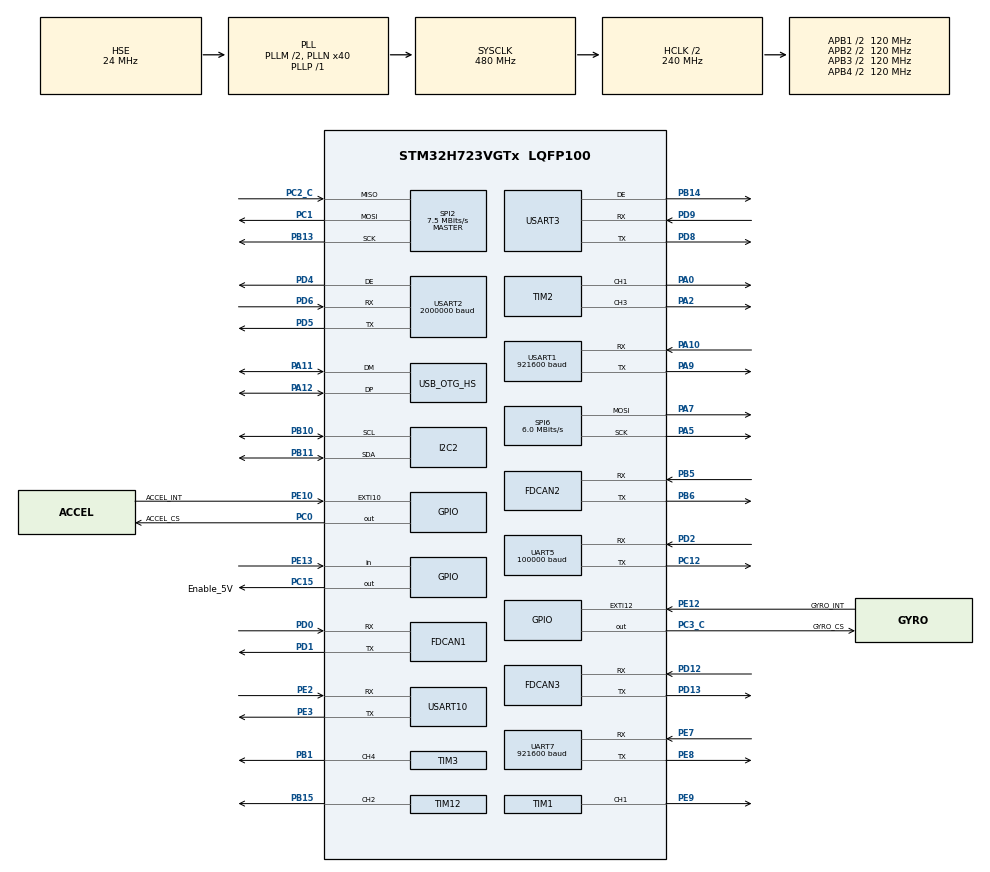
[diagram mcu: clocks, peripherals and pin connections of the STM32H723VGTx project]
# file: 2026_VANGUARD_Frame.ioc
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CORTEX_M7.AccessPermission_Spec=MPU_REGION_FULL_ACCESS
CORTEX_M7.BaseAddress_Spec=0x24000000
CORTEX_M7.CPU_DCache=Disabled
CORTEX_M7.CPU_ICache=Disabled
CORTEX_M7.DisableExec_Spec=MPU_INSTRUCTION_ACCESS_ENABLE
CORTEX_M7.IsShareable_Spec=MPU_ACCESS_NOT_SHAREABLE
CORTEX_M7.MPU_Control=MPU_PRIVILEGED_DEFAULT
CORTEX_M7.Size_Spec=MPU_REGION_SIZE_512KB
CORTEX_M7.SubRegionDisable_Spec=0x0
CORTEX_M7.TypeExtField_Spec=MPU_TEX_LEVEL1
CORTEX_M7.default_mode_Activation=0
Dma.Request0=UART7_RX
Dma.Request1=UART7_TX
Dma.Request2=SPI2_RX
Dma.Request3=SPI2_TX
Dma.Request4=UART5_RX
Dma.Request5=USART1_RX
Dma.Request6=USART2_RX
Dma.Request7=USART2_TX
Dma.SPI2_RX.2.Direction=DMA_PERIPH_TO_MEMORY
Dma.SPI2_RX.2.EventEnable=DISABLE
Dma.SPI2_RX.2.FIFOMode=DMA_FIFOMODE_DISABLE
Dma.SPI2_RX.2.Instance=DMA1_Stream2
Dma.SPI2_RX.2.MemDataAlignment=DMA_MDATAALIGN_BYTE
Dma.SPI2_RX.2.MemInc=DMA_MINC_ENABLE
Dma.SPI2_RX.2.Mode=DMA_NORMAL
Dma.SPI2_RX.2.PeriphDataAlignment=DMA_PDATAALIGN_BYTE
Dma.SPI2_RX.2.PeriphInc=DMA_PINC_DISABLE
Dma.SPI2_RX.2.Polarity=HAL_DMAMUX_REQ_GEN_RISING
Dma.SPI2_RX.2.Priority=DMA_PRIORITY_MEDIUM
Dma.SPI2_RX.2.RequestNumber=1
Dma.SPI2_RX.2.SignalID=NONE
Dma.SPI2_RX.2.SyncEnable=DISABLE
Dma.SPI2_RX.2.SyncPolarity=HAL_DMAMUX_SYNC_NO_EVENT
Dma.SPI2_RX.2.SyncRequestNumber=1
Dma.SPI2_RX.2.SyncSignalID=NONE
Dma.SPI2_TX.3.Direction=DMA_MEMORY_TO_PERIPH
Dma.SPI2_TX.3.EventEnable=DISABLE
Dma.SPI2_TX.3.FIFOMode=DMA_FIFOMODE_DISABLE
Dma.SPI2_TX.3.Instance=DMA1_Stream3
Dma.SPI2_TX.3.MemDataAlignment=DMA_MDATAALIGN_BYTE
Dma.SPI2_TX.3.MemInc=DMA_MINC_ENABLE
Dma.SPI2_TX.3.Mode=DMA_NORMAL
Dma.SPI2_TX.3.PeriphDataAlignment=DMA_PDATAALIGN_BYTE
Dma.SPI2_TX.3.PeriphInc=DMA_PINC_DISABLE
Dma.SPI2_TX.3.Polarity=HAL_DMAMUX_REQ_GEN_RISING
Dma.SPI2_TX.3.Priority=DMA_PRIORITY_LOW
Dma.SPI2_TX.3.RequestNumber=1
Dma.SPI2_TX.3.SignalID=NONE
Dma.SPI2_TX.3.SyncEnable=DISABLE
Dma.SPI2_TX.3.SyncPolarity=HAL_DMAMUX_SYNC_NO_EVENT
Dma.SPI2_TX.3.SyncRequestNumber=1
Dma.SPI2_TX.3.SyncSignalID=NONE
Dma.UART5_RX.4.Direction=DMA_PERIPH_TO_MEMORY
Dma.UART5_RX.4.EventEnable=DISABLE
Dma.UART5_RX.4.FIFOMode=DMA_FIFOMODE_DISABLE
Dma.UART5_RX.4.Instance=DMA1_Stream4
Dma.UART5_RX.4.MemDataAlignment=DMA_MDATAALIGN_BYTE
Dma.UART5_RX.4.MemInc=DMA_MINC_ENABLE
Dma.UART5_RX.4.Mode=DMA_NORMAL
Dma.UART5_RX.4.PeriphDataAlignment=DMA_PDATAALIGN_BYTE
Dma.UART5_RX.4.PeriphInc=DMA_PINC_DISABLE
Dma.UART5_RX.4.Polarity=HAL_DMAMUX_REQ_GEN_RISING
Dma.UART5_RX.4.Priority=DMA_PRIORITY_LOW
Dma.UART5_RX.4.RequestNumber=1
Dma.UART5_RX.4.SignalID=NONE
Dma.UART5_RX.4.SyncEnable=DISABLE
Dma.UART5_RX.4.SyncPolarity=HAL_DMAMUX_SYNC_NO_EVENT
Dma.UART5_RX.4.SyncRequestNumber=1
Dma.UART5_RX.4.SyncSignalID=NONE
Dma.UART7_RX.0.Direction=DMA_PERIPH_TO_MEMORY
Dma.UART7_RX.0.EventEnable=DISABLE
Dma.UART7_RX.0.FIFOMode=DMA_FIFOMODE_DISABLE
Dma.UART7_RX.0.Instance=DMA1_Stream0
Dma.UART7_RX.0.MemDataAlignment=DMA_MDATAALIGN_BYTE
Dma.UART7_RX.0.MemInc=DMA_MINC_ENABLE
Dma.UART7_RX.0.Mode=DMA_NORMAL
Dma.UART7_RX.0.PeriphDataAlignment=DMA_PDATAALIGN_BYTE
Dma.UART7_RX.0.PeriphInc=DMA_PINC_DISABLE
Dma.UART7_RX.0.Polarity=HAL_DMAMUX_REQ_GEN_RISING
Dma.UART7_RX.0.Priority=DMA_PRIORITY_LOW
Dma.UART7_RX.0.RequestNumber=1
Dma.UART7_RX.0.SignalID=NONE
Dma.UART7_RX.0.SyncEnable=DISABLE
Dma.UART7_RX.0.SyncPolarity=HAL_DMAMUX_SYNC_NO_EVENT
Dma.UART7_RX.0.SyncRequestNumber=1
Dma.UART7_RX.0.SyncSignalID=NONE
Dma.UART7_TX.1.Direction=DMA_MEMORY_TO_PERIPH
Dma.UART7_TX.1.EventEnable=DISABLE
Dma.UART7_TX.1.FIFOMode=DMA_FIFOMODE_DISABLE
Dma.UART7_TX.1.Instance=DMA1_Stream1
Dma.UART7_TX.1.MemDataAlignment=DMA_MDATAALIGN_BYTE
Dma.UART7_TX.1.MemInc=DMA_MINC_ENABLE
Dma.UART7_TX.1.Mode=DMA_NORMAL
Dma.UART7_TX.1.PeriphDataAlignment=DMA_PDATAALIGN_BYTE
Dma.UART7_TX.1.PeriphInc=DMA_PINC_DISABLE
Dma.UART7_TX.1.Polarity=HAL_DMAMUX_REQ_GEN_RISING
Dma.UART7_TX.1.Priority=DMA_PRIORITY_LOW
Dma.UART7_TX.1.RequestNumber=1
Dma.UART7_TX.1.SignalID=NONE
Dma.UART7_TX.1.SyncEnable=DISABLE
Dma.UART7_TX.1.SyncPolarity=HAL_DMAMUX_SYNC_NO_EVENT
Dma.UART7_TX.1.SyncRequestNumber=1
Dma.UART7_TX.1.SyncSignalID=NONE
Dma.USART1_RX.5.Direction=DMA_PERIPH_TO_MEMORY
Dma.USART1_RX.5.EventEnable=DISABLE
Dma.USART1_RX.5.FIFOMode=DMA_FIFOMODE_DISABLE
Dma.USART1_RX.5.Instance=DMA1_Stream5
Dma.USART1_RX.5.MemDataAlignment=DMA_MDATAALIGN_BYTE
Dma.USART1_RX.5.MemInc=DMA_MINC_ENABLE
Dma.USART1_RX.5.Mode=DMA_NORMAL
Dma.USART1_RX.5.PeriphDataAlignment=DMA_PDATAALIGN_BYTE
Dma.USART1_RX.5.PeriphInc=DMA_PINC_DISABLE
Dma.USART1_RX.5.Polarity=HAL_DMAMUX_REQ_GEN_RISING
Dma.USART1_RX.5.Priority=DMA_PRIORITY_HIGH
Dma.USART1_RX.5.RequestNumber=1
Dma.USART1_RX.5.SignalID=NONE
Dma.USART1_RX.5.SyncEnable=DISABLE
Dma.USART1_RX.5.SyncPolarity=HAL_DMAMUX_SYNC_NO_EVENT
Dma.USART1_RX.5.SyncRequestNumber=1
Dma.USART1_RX.5.SyncSignalID=NONE
Dma.USART2_RX.6.Direction=DMA_PERIPH_TO_MEMORY
Dma.USART2_RX.6.EventEnable=DISABLE
Dma.USART2_RX.6.FIFOMode=DMA_FIFOMODE_DISABLE
Dma.USART2_RX.6.Instance=DMA1_Stream6
Dma.USART2_RX.6.MemDataAlignment=DMA_MDATAALIGN_BYTE
Dma.USART2_RX.6.MemInc=DMA_MINC_ENABLE
Dma.USART2_RX.6.Mode=DMA_CIRCULAR
Dma.USART2_RX.6.PeriphDataAlignment=DMA_PDATAALIGN_BYTE
Dma.USART2_RX.6.PeriphInc=DMA_PINC_DISABLE
Dma.USART2_RX.6.Polarity=HAL_DMAMUX_REQ_GEN_RISING
Dma.USART2_RX.6.Priority=DMA_PRIORITY_HIGH
Dma.USART2_RX.6.RequestNumber=1
Dma.USART2_RX.6.SignalID=NONE
Dma.USART2_RX.6.SyncEnable=DISABLE
Dma.USART2_RX.6.SyncPolarity=HAL_DMAMUX_SYNC_NO_EVENT
Dma.USART2_RX.6.SyncRequestNumber=1
Dma.USART2_RX.6.SyncSignalID=NONE
Dma.USART2_TX.7.Direction=DMA_MEMORY_TO_PERIPH
Dma.USART2_TX.7.EventEnable=DISABLE
Dma.USART2_TX.7.FIFOMode=DMA_FIFOMODE_DISABLE
Dma.USART2_TX.7.Instance=DMA1_Stream7
Dma.USART2_TX.7.MemDataAlignment=DMA_MDATAALIGN_BYTE
Dma.USART2_TX.7.MemInc=DMA_MINC_ENABLE
Dma.USART2_TX.7.Mode=DMA_NORMAL
Dma.USART2_TX.7.PeriphDataAlignment=DMA_PDATAALIGN_BYTE
Dma.USART2_TX.7.PeriphInc=DMA_PINC_DISABLE
Dma.USART2_TX.7.Polarity=HAL_DMAMUX_REQ_GEN_RISING
Dma.USART2_TX.7.Priority=DMA_PRIORITY_HIGH
Dma.USART2_TX.7.RequestNumber=1
Dma.USART2_TX.7.SignalID=NONE
Dma.USART2_TX.7.SyncEnable=DISABLE
Dma.USART2_TX.7.SyncPolarity=HAL_DMAMUX_SYNC_NO_EVENT
Dma.USART2_TX.7.SyncRequestNumber=1
Dma.USART2_TX.7.SyncSignalID=NONE
FDCAN1.AutoRetransmission=ENABLE
FDCAN1.CalculateBaudRateNominal=1000000
FDCAN1.CalculateTimeBitNominal=1000
FDCAN1.CalculateTimeQuantumNominal=200.0
FDCAN1.DataPrescaler=1
FDCAN1.DataSyncJumpWidth=5
FDCAN1.DataTimeSeg1=14
FDCAN1.DataTimeSeg2=5
FDCAN1.FrameFormat=FDCAN_FRAME_FD_NO_BRS
FDCAN1.NominalPrescaler=24
FDCAN1.NominalSyncJumpWidth=5
FDCAN1.NominalTimeSeg1=2
FDCAN1.NominalTimeSeg2=2
FDCAN1.ProtocolException=DISABLE
FDCAN1.RxFifo0ElmtsNbr=16
FDCAN1.RxFifo1ElmtsNbr=16
FDCAN1.StdFiltersNbr=42
FDCAN1.TxBuffersNbr=0
FDCAN1.TxFifoQueueElmtsNbr=32
FDCAN1.TxFifoQueueMode=FDCAN_TX_FIFO_OPERATION
FDCAN2.AutoRetransmission=ENABLE
FDCAN2.CalculateBaudRateNominal=1000000
FDCAN2.CalculateTimeBitNominal=1000
FDCAN2.CalculateTimeQuantumNominal=200.0
FDCAN2.DataSyncJumpWidth=5
FDCAN2.DataTimeSeg1=14
FDCAN2.DataTimeSeg2=5
FDCAN2.FrameFormat=FDCAN_FRAME_FD_NO_BRS
FDCAN2.MessageRAMOffset=853
FDCAN2.NominalPrescaler=24
FDCAN2.NominalSyncJumpWidth=5
FDCAN2.NominalTimeSeg1=2
FDCAN2.NominalTimeSeg2=2
FDCAN2.ProtocolException=DISABLE
FDCAN2.RxFifo0ElmtsNbr=16
FDCAN2.RxFifo1ElmtsNbr=16
FDCAN2.StdFiltersNbr=42
FDCAN2.TxFifoQueueElmtsNbr=32
FDCAN3.AutoRetransmission=ENABLE
FDCAN3.CalculateBaudRateNominal=1000000
FDCAN3.CalculateTimeBitNominal=1000
FDCAN3.CalculateTimeQuantumNominal=25.0
FDCAN3.DataPrescaler=3
FDCAN3.DataSyncJumpWidth=10
FDCAN3.DataTimeSeg1=29
FDCAN3.DataTimeSeg2=10
FDCAN3.MessageRAMOffset=1708
FDCAN3.NominalPrescaler=3
FDCAN3.NominalSyncJumpWidth=10
FDCAN3.NominalTimeSeg1=29
FDCAN3.NominalTimeSeg2=10
FDCAN3.ProtocolException=DISABLE
FDCAN3.RxFifo0ElmtsNbr=16
FDCAN3.RxFifo1ElmtsNbr=16
FDCAN3.StdFiltersNbr=42
FDCAN3.TxFifoQueueElmtsNbr=32
FREERTOS.Tasks01=defaultTask,24,128,StartDefaultTask,Default,NULL,Dynamic,NULL,NULL
I2C2.Timing=0x307075B1
Mcu.Family=STM32H7
Mcu.Name=STM32H723VGTx
Mcu.Package=LQFP100
NVIC.DMA1_Stream0_IRQn=true\:5\:0\:false\:false\:true\:true\:false\:true\:true
NVIC.DMA1_Stream1_IRQn=true\:5\:0\:false\:false\:true\:true\:false\:true\:true
NVIC.DMA1_Stream2_IRQn=true\:5\:0\:false\:false\:true\:true\:false\:true\:true
NVIC.DMA1_Stream3_IRQn=true\:5\:0\:false\:false\:true\:true\:false\:true\:true
NVIC.DMA1_Stream4_IRQn=true\:5\:0\:false\:false\:true\:true\:false\:true\:true
NVIC.DMA1_Stream5_IRQn=true\:5\:0\:false\:false\:true\:true\:false\:true\:true
NVIC.DMA1_Stream6_IRQn=true\:5\:0\:false\:false\:true\:true\:false\:true\:true
NVIC.DMA1_Stream7_IRQn=true\:5\:0\:false\:false\:true\:true\:false\:true\:true
NVIC.FDCAN1_IT0_IRQn=true\:5\:0\:false\:false\:true\:true\:true\:true\:true
NVIC.FDCAN1_IT1_IRQn=true\:5\:0\:false\:false\:true\:true\:true\:true\:true
NVIC.FDCAN2_IT0_IRQn=true\:5\:0\:false\:false\:true\:true\:true\:true\:true
NVIC.FDCAN2_IT1_IRQn=true\:5\:0\:false\:false\:true\:true\:true\:true\:true
NVIC.FDCAN3_IT0_IRQn=true\:5\:0\:false\:false\:true\:true\:true\:true\:true
NVIC.FDCAN3_IT1_IRQn=true\:5\:0\:false\:false\:true\:true\:true\:true\:true
NVIC.OTG_HS_IRQn=true\:5\:0\:false\:false\:true\:true\:false\:true\:true
NVIC.PriorityGroup=NVIC_PRIORITYGROUP_4
NVIC.RNG_IRQn=true\:5\:0\:false\:false\:true\:true\:true\:true\:true
NVIC.SPI2_IRQn=true\:5\:0\:false\:false\:true\:true\:true\:true\:true
NVIC.TIM7_IRQn=true\:15\:0\:false\:false\:true\:false\:false\:true\:true
NVIC.TimeBase=TIM7_IRQn
NVIC.TimeBaseIP=TIM7
NVIC.UART5_IRQn=true\:5\:0\:false\:false\:true\:true\:true\:true\:true
NVIC.UART7_IRQn=true\:5\:0\:false\:false\:true\:true\:true\:true\:true
NVIC.USART10_IRQn=true\:5\:0\:false\:false\:true\:true\:true\:true\:true
NVIC.USART1_IRQn=true\:5\:0\:false\:false\:true\:true\:true\:true\:true
NVIC.USART2_IRQn=true\:5\:0\:false\:false\:true\:true\:true\:true\:true
NVIC.USART3_IRQn=true\:5\:0\:false\:false\:true\:true\:true\:true\:true
PA0.Signal=S_TIM2_CH1_ETR
PA10.Mode=Asynchronous
PA10.Signal=USART1_RX
PA11.Mode=Device_Only_FS
PA11.Signal=USB_OTG_HS_DM
PA12.Mode=Device_Only_FS
PA12.Signal=USB_OTG_HS_DP
PA13(JTMS/SWDIO).Mode=Serial_Wire
PA13(JTMS/SWDIO).Signal=DEBUG_JTMS-SWDIO
PA14(JTCK/SWCLK).Mode=Serial_Wire
PA14(JTCK/SWCLK).Signal=DEBUG_JTCK-SWCLK
PA2.Signal=S_TIM2_CH3
PA5.Mode=TX_Only_Simplex_Unidirect_Master
PA5.Signal=SPI6_SCK
PA7.Mode=TX_Only_Simplex_Unidirect_Master
PA7.Signal=SPI6_MOSI
PA9.Mode=Asynchronous
PA9.Signal=USART1_TX
PB1.Signal=S_TIM3_CH4
PB10.Mode=I2C
PB10.Signal=I2C2_SCL
PB11.Mode=I2C
PB11.Signal=I2C2_SDA
PB13.GPIO_Speed=GPIO_SPEED_FREQ_VERY_HIGH
PB13.Mode=Full_Duplex_Master
PB13.Signal=SPI2_SCK
PB14.Mode=Hardware Flow Control (RS485)
PB14.Signal=USART3_DE
PB15.Signal=S_TIM12_CH2
PB5.GPIO_Speed=GPIO_SPEED_FREQ_HIGH
PB5.Mode=FDCAN_Activate
PB5.Signal=FDCAN2_RX
PB6.GPIO_Speed=GPIO_SPEED_FREQ_HIGH
PB6.Mode=FDCAN_Activate
PB6.Signal=FDCAN2_TX
PC0.GPIO_Label=ACCEL_CS
PC0.GPIO_PuPd=GPIO_PULLUP
PC0.GPIO_Speed=GPIO_SPEED_FREQ_HIGH
PC0.PinState=GPIO_PIN_SET
PC0.Signal=GPIO_Output
PC1.GPIO_Speed=GPIO_SPEED_FREQ_VERY_HIGH
PC1.Mode=Full_Duplex_Master
PC1.Signal=SPI2_MOSI
PC12.Mode=Asynchronous
PC12.Signal=UART5_TX
PC15-OSC32_OUT.GPIO_Label=Enable_5V
PC15-OSC32_OUT.GPIO_PuPd=GPIO_PULLUP
PC15-OSC32_OUT.PinState=GPIO_PIN_SET
PC15-OSC32_OUT.Signal=GPIO_Output
PC2_C.GPIO_Speed=GPIO_SPEED_FREQ_VERY_HIGH
PC2_C.Mode=Full_Duplex_Master
PC2_C.Signal=SPI2_MISO
PC3_C.GPIO_Label=GYRO_CS
PC3_C.GPIO_PuPd=GPIO_PULLUP
PC3_C.GPIO_Speed=GPIO_SPEED_FREQ_HIGH
PC3_C.PinState=GPIO_PIN_SET
PC3_C.Signal=GPIO_Output
PD0.GPIO_Speed=GPIO_SPEED_FREQ_HIGH
PD0.Mode=FDCAN_Activate
PD0.Signal=FDCAN1_RX
PD1.GPIO_Speed=GPIO_SPEED_FREQ_HIGH
PD1.Mode=FDCAN_Activate
PD1.Signal=FDCAN1_TX
PD12.GPIO_Speed=GPIO_SPEED_FREQ_HIGH
PD12.Mode=FDCAN_Activate
PD12.Signal=FDCAN3_RX
PD13.GPIO_Speed=GPIO_SPEED_FREQ_HIGH
PD13.Mode=FDCAN_Activate
PD13.Signal=FDCAN3_TX
PD2.Mode=Asynchronous
PD2.Signal=UART5_RX
PD4.GPIO_Speed=GPIO_SPEED_FREQ_VERY_HIGH
PD4.Mode=Hardware Flow Control (RS485)
PD4.Signal=USART2_DE
PD5.GPIO_Speed=GPIO_SPEED_FREQ_VERY_HIGH
PD5.Mode=Asynchronous
PD5.Signal=USART2_TX
PD6.GPIO_Speed=GPIO_SPEED_FREQ_VERY_HIGH
PD6.Mode=Asynchronous
PD6.Signal=USART2_RX
PD8.Mode=Asynchronous
PD8.Signal=USART3_TX
PD9.Mode=Asynchronous
PD9.Signal=USART3_RX
PE10.GPIO_Label=ACCEL_INT
PE10.GPIO_ModeDefaultEXTI=GPIO_MODE_IT_FALLING
PE10.GPIO_PuPd=GPIO_NOPULL
PE10.Signal=GPXTI10
PE12.GPIO_Label=GYRO_INT
PE12.GPIO_ModeDefaultEXTI=GPIO_MODE_IT_FALLING
PE12.GPIO_PuPd=GPIO_NOPULL
PE12.Signal=GPXTI12
PE13.GPIO_PuPd=GPIO_PULLDOWN
PE13.Signal=GPIO_Input
PE2.Mode=Asynchronous
PE2.Signal=USART10_RX
PE3.Mode=Asynchronous
PE3.Signal=USART10_TX
PE7.Mode=Asynchronous
PE7.Signal=UART7_RX
PE8.Mode=Asynchronous
PE8.Signal=UART7_TX
PE9.Signal=S_TIM1_CH1
PH0-OSC_IN.Mode=HSE-External-Oscillator
PH0-OSC_IN.Signal=RCC_OSC_IN
PH1-OSC_OUT.Mode=HSE-External-Oscillator
PH1-OSC_OUT.Signal=RCC_OSC_OUT
ProjectManager.HeapSize=0x4000
ProjectManager.StackSize=0x4000
ProjectManager.TargetToolchain=MDK-ARM V5.32
RCC.ADCFreq_Value=240000000
RCC.APB1Freq_Value=120000000
RCC.APB2Freq_Value=120000000
RCC.APB3Freq_Value=120000000
RCC.APB4Freq_Value=120000000
RCC.CortexFreq_Value=480000000
RCC.D1PPRE=RCC_APB3_DIV2
RCC.D2PPRE1=RCC_APB1_DIV2
RCC.D2PPRE2=RCC_APB2_DIV2
RCC.D3PPRE=RCC_APB4_DIV2
RCC.DIVM1=2
RCC.DIVM2=2
RCC.DIVN1=40
RCC.DIVN2=40
RCC.DIVP1=1
RCC.DIVQ1=4
RCC.DIVQ2=20
RCC.HCLKFreq_Value=240000000
RCC.HPRE=RCC_HCLK_DIV2
RCC.HSE_VALUE=24000000
RCC.PLLSourceVirtual=RCC_PLLSOURCE_HSE
RCC.SPI6CLockSelection=RCC_SPI6CLKSOURCE_PLL2
RCC.SYSCLKFreq_VALUE=480000000
RCC.SYSCLKSource=RCC_SYSCLKSOURCE_PLLCLK
RCC.USBCLockSelection=RCC_USBCLKSOURCE_HSI48
RCC.USBFreq_Value=48000000
SH.S_TIM12_CH2.0=TIM12_CH2,PWM Generation2 CH2
SH.S_TIM1_CH1.0=TIM1_CH1,PWM Generation1 CH1
SH.S_TIM2_CH1_ETR.0=TIM2_CH1,PWM Generation1 CH1
SH.S_TIM2_CH3.0=TIM2_CH3,PWM Generation3 CH3
SH.S_TIM3_CH4.0=TIM3_CH4,PWM Generation4 CH4
SPI2.BaudRatePrescaler=SPI_BAUDRATEPRESCALER_16
SPI2.CLKPhase=SPI_PHASE_2EDGE
SPI2.CLKPolarity=SPI_POLARITY_HIGH
SPI2.CalculateBaudRate=7.5 MBits/s
SPI2.DataSize=SPI_DATASIZE_8BIT
SPI2.Direction=SPI_DIRECTION_2LINES
SPI2.Mode=SPI_MODE_MASTER
SPI2.VirtualType=VM_MASTER
SPI6.BaudRatePrescaler=SPI_BAUDRATEPRESCALER_4
SPI6.CLKPhase=SPI_PHASE_2EDGE
SPI6.CalculateBaudRate=6.0 MBits/s
SPI6.DataSize=SPI_DATASIZE_8BIT
SPI6.Direction=SPI_DIRECTION_2LINES_TXONLY
SPI6.Mode=SPI_MODE_MASTER
SPI6.VirtualType=VM_MASTER
STMicroelectronics.X-CUBE-ALGOBUILD.1.4.0.LibraryCcDSPOoLibraryJjDSPOoLibrary=true
TIM1.Channel-PWM\ Generation1\ CH1=TIM_CHANNEL_1
TIM12.Channel-PWM\ Generation2\ CH2=TIM_CHANNEL_2
TIM12.Period=2000-1
TIM12.Prescaler=24-1
TIM12.Pulse-PWM\ Generation2\ CH2=1000
TIM2.Channel-PWM\ Generation1\ CH1=TIM_CHANNEL_1
TIM2.Channel-PWM\ Generation3\ CH3=TIM_CHANNEL_3
TIM3.Channel-PWM\ Generation4\ CH4=TIM_CHANNEL_4
TIM3.Period=20000-1
TIM3.Prescaler=24-1
UART5.BaudRate=100000
UART5.Mode=MODE_RX
UART5.OverrunDisableParam=UART_ADVFEATURE_OVERRUN_DISABLE
UART5.Parity=PARITY_EVEN
UART5.StopBits=UART_STOPBITS_2
UART5.WordLength=WORDLENGTH_9B
UART7.BaudRate=921600
USART1.BaudRate=921600
USART1.FIFOMode=FIFOMODE_DISABLE
USART1.Mode=MODE_RX
USART1.VirtualMode-Asynchronous=VM_ASYNC
USART10.VirtualMode=VM_ASYNC
USART2.BaudRate=2000000
USART2.VirtualMode-Asynchronous=VM_ASYNC
USART2.VirtualMode-Hardware\ Flow\ Control\ (RS485)=VM_ASYNC
USART3.VirtualMode-Asynchronous=VM_ASYNC
USART3.VirtualMode-Hardware\ Flow\ Control\ (RS485)=VM_ASYNC
USB_DEVICE.CLASS_NAME_HS=CDC
USB_DEVICE.VirtualMode=Cdc
USB_DEVICE.VirtualModeHS=Cdc_HS
USB_OTG_HS.VirtualMode-Device_Only_FS=Device_Only_FS
VP_FREERTOS_VS_CMSIS_V2.Mode=CMSIS_V2
VP_MEMORYMAP_VS_MEMORYMAP.Mode=CurAppReg
VP_RNG_VS_RNG.Mode=RNG_Activate
VP_STMicroelectronics.X-CUBE-ALGOBUILD_VS_DSPOoLibraryJjLibrary_1.4.0_1.4.0.Mode=DSPOoLibraryJjLibrary
VP_SYS_VS_tim7.Mode=TIM7
VP_USB_DEVICE_VS_USB_DEVICE_CDC_HS.Mode=CDC_HS
board=custom

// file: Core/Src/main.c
/* USER CODE BEGIN Header */
/**
  ******************************************************************************
  * @file           : main.c
  * @brief          : Main program body
  ******************************************************************************
  * @attention
  *
  * Copyright (c) 2025 STMicroelectronics.
  * All rights reserved.
  *
  * This software is licensed under terms that can be found in the LICENSE file
  * in the root directory of this software component.
  * If no LICENSE file comes with this software, it is provided AS-IS.
  *
  ******************************************************************************
  */
/* USER CODE END Header */
#include "main.h"
#include "cmsis_os.h"
#include "dma.h"
#include "fdcan.h"
#include "i2c.h"
#include "rng.h"
#include "spi.h"
#include "tim.h"
#include "usart.h"
#include "usb_device.h"
#include "gpio.h"

/* USER CODE BEGIN Includes */
#include "robot_frame_init.h"
/* USER CODE END Includes */

void SystemClock_Config(void);
static void MPU_Config(void);
void MX_FREERTOS_Init(void);

int main(void)
{

  /* MPU Configuration--------------------------------------------------------*/
  MPU_Config();

  /* MCU Configuration--------------------------------------------------------*/

  /* Reset of all peripherals, Initializes the Flash interface and the Systick. */
  HAL_Init();

  /* Configure the system clock */
  SystemClock_Config();

  /* Initialize all configured peripherals */
  MX_GPIO_Init();
  MX_DMA_Init();
  MX_TIM1_Init();
  MX_TIM2_Init();
  MX_UART5_Init();
  MX_UART7_Init();
  MX_USART1_UART_Init();
  MX_USART2_UART_Init();
  MX_USART3_UART_Init();
  MX_USART10_UART_Init();
  MX_FDCAN1_Init();
  MX_FDCAN2_Init();
  MX_FDCAN3_Init();
  MX_SPI2_Init();
  MX_SPI6_Init();
  MX_TIM3_Init();
  MX_TIM12_Init();
  MX_I2C2_Init();
  MX_RNG_Init();
  /* USER CODE BEGIN 2 */
  Robot_Frame_Init();
  /* USER CODE END 2 */

  /* Init scheduler */
  osKernelInitialize();  /* Call init function for freertos objects (in cmsis_os2.c) */
  MX_FREERTOS_Init();

  /* Start scheduler */
  osKernelStart();

  /* We should never get here as control is now taken by the scheduler */

  /* Infinite loop */
  while (1)
  {

  }
}

void SystemClock_Config(void)
{
  RCC_OscInitTypeDef RCC_OscInitStruct = {0};
  RCC_ClkInitTypeDef RCC_ClkInitStruct = {0};

  /** Supply configuration update enable
  */
  HAL_PWREx_ConfigSupply(PWR_LDO_SUPPLY);

  /** Configure the main internal regulator output voltage
  */
  __HAL_PWR_VOLTAGESCALING_CONFIG(PWR_REGULATOR_VOLTAGE_SCALE0);

  while(!__HAL_PWR_GET_FLAG(PWR_FLAG_VOSRDY)) {}

  /** Initializes the RCC Oscillators according to the specified parameters
  * in the RCC_OscInitTypeDef structure.
  */
  RCC_OscInitStruct.OscillatorType = RCC_OSCILLATORTYPE_HSI48|RCC_OSCILLATORTYPE_HSE;
  RCC_OscInitStruct.HSEState = RCC_HSE_ON;
  RCC_OscInitStruct.HSI48State = RCC_HSI48_ON;
  RCC_OscInitStruct.PLL.PLLState = RCC_PLL_ON;
  RCC_OscInitStruct.PLL.PLLSource = RCC_PLLSOURCE_HSE;
  RCC_OscInitStruct.PLL.PLLM = 2;
  RCC_OscInitStruct.PLL.PLLN = 40;
  RCC_OscInitStruct.PLL.PLLP = 1;
  RCC_OscInitStruct.PLL.PLLQ = 4;
  RCC_OscInitStruct.PLL.PLLR = 2;
  RCC_OscInitStruct.PLL.PLLRGE = RCC_PLL1VCIRANGE_3;
  RCC_OscInitStruct.PLL.PLLVCOSEL = RCC_PLL1VCOWIDE;
  RCC_OscInitStruct.PLL.PLLFRACN = 0;
  if (HAL_RCC_OscConfig(&RCC_OscInitStruct) != HAL_OK)
  {
    Error_Handler();
  }

  /** Initializes the CPU, AHB and APB buses clocks
  */
  RCC_ClkInitStruct.ClockType = RCC_CLOCKTYPE_HCLK|RCC_CLOCKTYPE_SYSCLK
                              |RCC_CLOCKTYPE_PCLK1|RCC_CLOCKTYPE_PCLK2
                              |RCC_CLOCKTYPE_D3PCLK1|RCC_CLOCKTYPE_D1PCLK1;
  RCC_ClkInitStruct.SYSCLKSource = RCC_SYSCLKSOURCE_PLLCLK;
  RCC_ClkInitStruct.SYSCLKDivider = RCC_SYSCLK_DIV1;
  RCC_ClkInitStruct.AHBCLKDivider = RCC_HCLK_DIV2;
  RCC_ClkInitStruct.APB3CLKDivider = RCC_APB3_DIV2;
  RCC_ClkInitStruct.APB1CLKDivider = RCC_APB1_DIV2;
  RCC_ClkInitStruct.APB2CLKDivider = RCC_APB2_DIV2;
  RCC_ClkInitStruct.APB4CLKDivider = RCC_APB4_DIV2;

  if (HAL_RCC_ClockConfig(&RCC_ClkInitStruct, FLASH_LATENCY_3) != HAL_OK)
  {
    Error_Handler();
  }
}

 /* MPU Configuration */

void MPU_Config(void)
{

  /* Disables the MPU */
  HAL_MPU_Disable();

  /* Enables the MPU */
  HAL_MPU_Enable(MPU_PRIVILEGED_DEFAULT);

}

void HAL_TIM_PeriodElapsedCallback(TIM_HandleTypeDef *htim)
{
  if (htim->Instance == TIM7)
  {
    HAL_IncTick();
  }
}

void Error_Handler(void)
{
  __disable_irq();
  while (1)
  {
  }
}

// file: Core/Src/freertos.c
/* USER CODE BEGIN Header */
/**
  ******************************************************************************
  * File Name          : freertos.c
  * Description        : Code for freertos applications
  ******************************************************************************
  * @attention
  *
  * Copyright (c) 2025 STMicroelectronics.
  * All rights reserved.
  *
  * This software is licensed under terms that can be found in the LICENSE file
  * in the root directory of this software component.
  * If no LICENSE file comes with this software, it is provided AS-IS.
  *
  ******************************************************************************
  */
/* USER CODE END Header */

#include "FreeRTOS.h"
#include "task.h"
#include "main.h"
#include "cmsis_os.h"

/* USER CODE BEGIN Includes */
/******************************这里是塞💩的地方，请随便塞💩*****************************/
#include "rng.h"
#include "robot_frame_init.h"
#include "buzzer.h"
#include "ws2812.h"
#include "wfly_control.h"
#include "rs485.h"

/******************************这里是塞💩的地方，请随便塞💩*****************************/
/* USER CODE END Includes */

/* Definitions for defaultTask */
osThreadId_t defaultTaskHandle;
const osThreadAttr_t defaultTask_attributes = {
  .name = "defaultTask",
  .stack_size = 128 * 4,
  .priority = (osPriority_t) osPriorityNormal,
};

void StartDefaultTask(void *argument);

extern void MX_USB_DEVICE_Init(void);
void MX_FREERTOS_Init(void); /* (MISRA C 2004 rule 8.1) */

void MX_FREERTOS_Init(void) {

  /* Create the thread(s) */
  /* creation of defaultTask */
  defaultTaskHandle = osThreadNew(StartDefaultTask, NULL, &defaultTask_attributes);

  /* USER CODE BEGIN RTOS_THREADS */
  /* add threads, ... */
  Robot_Frame_Task_Init();
  /* USER CODE END RTOS_THREADS */

}

/* USER CODE BEGIN Header_StartDefaultTask */
/**
  * @brief  Function implementing the defaultTask thread.
  * @param  argument: Not used
  * @retval None
  */
/******************************这里是塞💩的地方，请随便塞💩*****************************/
extern wfly_t *rc_data;
uint32_t beat = 0;
/* USER CODE END Header_StartDefaultTask */
void StartDefaultTask(void *argument)
{
  /* init code for USB_DEVICE */
  MX_USB_DEVICE_Init();
  /* USER CODE BEGIN StartDefaultTask */
	WS2812_Control(ws2812_instance, GREEN_WS2812_COLOR);
	Buzzer_Play(StartUP_sound, 0);
	osDelay(1500);
  /* Infinite loop */
  for(;;)
  {
    static uint8_t music_lock = 0;
    if(rc_data->online == 0)
    {
        if(music_lock == 0)
        {
            Buzzer_Play(No_RC_sound, 0);
            music_lock = 1;
        }
    }
    else if(rc_data->online == 1)
    {
        if(music_lock == 1)
        {
            Buzzer_Play(Yes_RC_sound, 0);
            music_lock = 0;
        }
    }

		beat++;
		if((beat % 120000) == 0)
		{
			Buzzer_Play(Super_Mario_sound, 0);
		}
		else if((beat % 30000) == 0)
		{
			Buzzer_Play(Heartbeat_sound, 0);
		}
		else if((beat % 55555) == 0)
		{
			Buzzer_Play(Call_Airsupport_sound, 0);
		}

    if(rs485_command.online == 0)
	  {
		  if((beat % 1000) == 0)
		  {
			  Buzzer_Play(Warming_sound, 0);
		  }
	  }
//有💩
//    uint32_t rand_data = 0;
//    HAL_RNG_GenerateRandomNumber(&hrng, (uint32_t*)&rand_data);
//
//		if(rand_data == 0xFFFFFFFF)
//		{
//			Buzzer_Play(Call_Airsupport_sound, 0);
//		}

    osDelay(1);
  }
  /* USER CODE END StartDefaultTask */
}

/* USER CODE BEGIN Application */
/******************************这里是塞💩的地方，请随便塞💩*****************************/
/* USER CODE END Application */
